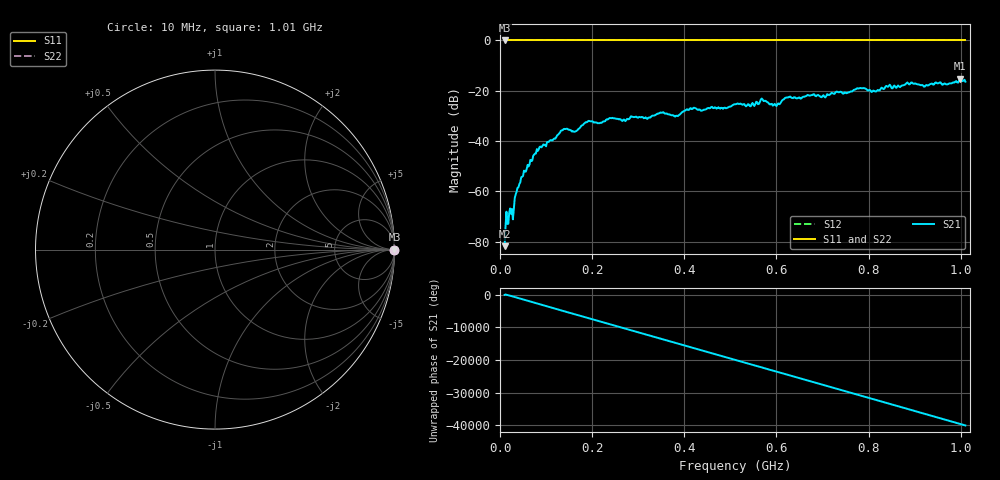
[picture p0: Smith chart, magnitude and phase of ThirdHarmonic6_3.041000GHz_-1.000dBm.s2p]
! 8/17/2025 8:48:30 AM
! C:\ANRITSUVNA\TEMP\TEMP.S2P
! CHANNEL.1
! TR.MEASUREMENT
! RAW.DATA
! RF.CORRECTION.OFF
! AVERAGING.OFF
! IF.BANDWIDTH: 5KHZ
! SWEEPTYPE:  FREQ.SWEEP(Linear)
! Reference Plane Port Info
! PORT:  PORT1  PORT2
! DISTANCE:  0  m  0  m
! TIME:  0  s  0  s
! PHASE.OFFSET:  0  deg.  0  deg.
! LOSS:  0  dB  0  dB
! REF.LOSS:  0  dB  0  dB
! REF.FREQ:  0  Hz  0  Hz
! Power Info
! POWER:  -20  dBm  -20  dBm
! EFF.POWER:  -20  dBm  -20  dBm
! SOURCE.ATTEN:  0  dB  0  dB
! TEST.ATTEN:  0  dB  0  dB
# GHZ S RI R 50.0
! FREQ.GHZ  S11RE  S11IM  S21RE  S21IM  S12RE  S12IM  S22RE  S22IM
!; PortSelection: Port_12
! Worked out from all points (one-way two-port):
!   501 points, 10 MHz to 1.01 GHz, reference 50 ohm
!   highest |S21| = -15.24 dB at 998 MHz (marker M1); lowest = -81.7 dB at 10 MHz (marker M2)
!   lowest |S11| = 0.0 dB at 10 MHz (marker M3)
!   |S11| at or under -10 dB: nowhere
!   |S22| runs from 0.0 to 0.0 dB; largest |S21 - S12| = 1.1
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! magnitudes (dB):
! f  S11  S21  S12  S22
! 10 MHz  0.0  -81.7  0.0  0.0
! 18 MHz  0.0  -72.9  0.0  0.0
! 28 MHz  0.0  -71.1  0.0  0.0
! 42 MHz  0.0  -57.1  0.0  0.0
! 76 MHz  0.0  -45.0  0.0  0.0
! 136 MHz  0.0  -35.7  0.0  0.0
! 164 MHz  0.0  -36.1  0.0  0.0
! 178 MHz  0.0  -33.7  0.0  0.0
! 344 MHz  0.0  -29.1  0.0  0.0
! 382 MHz  0.0  -29.9  0.0  0.0
! 416 MHz  0.0  -27.3  0.0  0.0
! 510 MHz  0.0  -25.4  0.0  0.0
! 548 MHz  0.0  -24.8  0.0  0.0
! 570 MHz  0.0  -23.5  0.0  0.0
! 596 MHz  0.0  -25.2  0.0  0.0
! 624 MHz  0.0  -22.7  0.0  0.0
! 678 MHz  0.0  -21.7  0.0  0.0
! 780 MHz  0.0  -19.0  0.0  0.0
! 812 MHz  0.0  -20.0  0.0  0.0
! 844 MHz  0.0  -18.0  0.0  0.0
! 998 MHz  0.0  -15.2  0.0  0.0
! 1.01 GHz  0.0  -16.4  0.0  0.0
